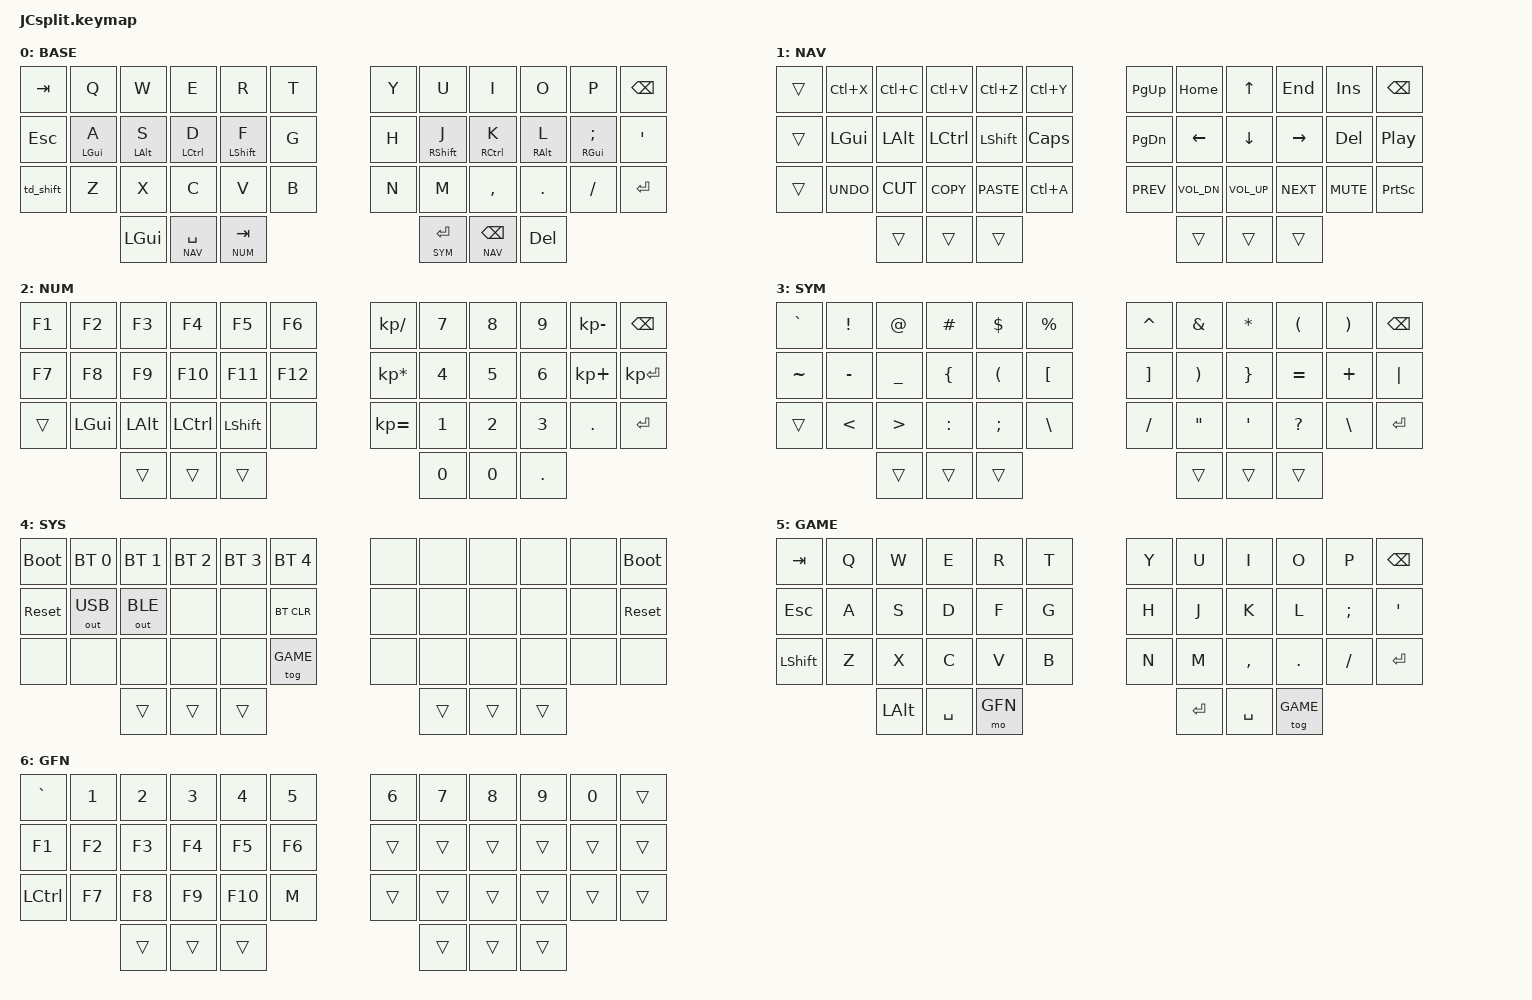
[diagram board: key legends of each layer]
/*
 * JCsplit 42-key keymap  (3x6 + 3 thumbs per half)
 *
 * Physical key positions:
 *   0  1  2  3  4  5    |    6  7  8  9 10 11
 *  12 13 14 15 16 17    |   18 19 20 21 22 23
 *  24 25 26 27 28 29    |   30 31 32 33 34 35
 *            36 37 38   |   39 40 41
 *
 * Layers:
 *  0 BASE  - QWERTY + GACS home row mods ("timeless" tuning)
 *  1 NAV   - arrows, home/end, page, copy/paste, media on left
 *  2 NUM   - right-hand numpad, F-keys on top
 *  3 SYM   - programming symbols mirrored for comfort
 *  4 SYS   - Bluetooth profiles, USB/BLE toggle, reset/bootloader
 *  5 GAME  - plain QWERTY, NO home row mods, gaming thumbs
 *  6 GFN   - gaming number/function overlay
 */

#include <behaviors.dtsi>
#include <dt-bindings/zmk/keys.h>
#include <dt-bindings/zmk/bt.h>
#include <dt-bindings/zmk/outputs.h>

#define BASE 0
#define NAV  1
#define NUM  2
#define SYM  3
#define SYS  4
#define GAME 5
#define GFN  6

/* Hand groupings for hold-trigger-key-positions */
#define KEYS_L 0 1 2 3 4 5 12 13 14 15 16 17 24 25 26 27 28 29
#define KEYS_R 6 7 8 9 10 11 18 19 20 21 22 23 30 31 32 33 34 35
#define THUMBS 36 37 38 39 40 41

/ {
    behaviors {
        /* Left-hand home row mod: only holds if next key is on the RIGHT hand */
        hml: home_row_mod_left {
            compatible = "zmk,behavior-hold-tap";
            #binding-cells = <2>;
            flavor = "balanced";
            tapping-term-ms = <280>;
            quick-tap-ms = <175>;
            require-prior-idle-ms = <150>;
            bindings = <&kp>, <&kp>;
            hold-trigger-key-positions = <KEYS_R THUMBS>;
            hold-trigger-on-release;
        };

        /* Right-hand home row mod: only holds if next key is on the LEFT hand */
        hmr: home_row_mod_right {
            compatible = "zmk,behavior-hold-tap";
            #binding-cells = <2>;
            flavor = "balanced";
            tapping-term-ms = <280>;
            quick-tap-ms = <175>;
            require-prior-idle-ms = <150>;
            bindings = <&kp>, <&kp>;
            hold-trigger-key-positions = <KEYS_L THUMBS>;
            hold-trigger-on-release;
        };

        /* Thumb layer-taps: snappier than HRMs, repeatable space/enter */
        tlt: thumb_layer_tap {
            compatible = "zmk,behavior-hold-tap";
            #binding-cells = <2>;
            flavor = "balanced";
            tapping-term-ms = <200>;
            quick-tap-ms = <175>;
            bindings = <&mo>, <&kp>;
        };

        /* Shift / caps-word on one key: tap = sticky shift feel via plain shift,
           double-tap = caps word */
        td_shift: tap_dance_shift {
            compatible = "zmk,behavior-tap-dance";
            #binding-cells = <0>;
            tapping-term-ms = <200>;
            bindings = <&kp LSHFT>, <&caps_word>;
        };
    };

    combos {
        compatible = "zmk,combos";

        /* F + J together = Caps Word (great for CONSTANTS_IN_CODE) */
        combo_caps_word {
            timeout-ms = <40>;
            key-positions = <16 19>;
            bindings = <&caps_word>;
            layers = <BASE>;
        };

        /* D + F = underscore, K + L = minus: the two most-typed
           programming characters without leaving home row */
        combo_underscore {
            timeout-ms = <40>;
            key-positions = <15 16>;
            bindings = <&kp UNDER>;
            layers = <BASE>;
        };
        combo_minus {
            timeout-ms = <40>;
            key-positions = <20 21>;
            bindings = <&kp MINUS>;
            layers = <BASE>;
        };

        /* Both inner thumbs = SYS layer (BT / reset) so it can't fire by accident */
        combo_sys {
            timeout-ms = <50>;
            key-positions = <38 39>;
            bindings = <&mo SYS>;
        };
    };

    keymap {
        compatible = "zmk,keymap";

        base_layer {
            display-name = "BASE";
            bindings = <
&kp TAB    &kp Q         &kp W         &kp E          &kp R          &kp T          &kp Y      &kp U          &kp I          &kp O         &kp P         &kp BSPC
&kp ESC    &hml LGUI A   &hml LALT S   &hml LCTRL D   &hml LSHFT F   &kp G          &kp H      &hmr RSHFT J   &hmr RCTRL K   &hmr RALT L   &hmr RGUI SEMI &kp SQT
&td_shift  &kp Z         &kp X         &kp C          &kp V          &kp B          &kp N      &kp M          &kp COMMA      &kp DOT       &kp FSLH      &kp ENTER
                                       &kp LGUI       &tlt NAV SPACE &tlt NUM TAB   &tlt SYM ENTER  &tlt NAV BSPC  &kp DEL
            >;
        };

        nav_layer {
            display-name = "NAV";
            bindings = <
&trans     &kp LC(X)  &kp LC(C)  &kp LC(V)  &kp LC(Z)  &kp LC(Y)      &kp PG_UP   &kp HOME    &kp UP      &kp END     &kp INS     &kp BSPC
&trans     &kp LGUI   &kp LALT   &kp LCTRL  &kp LSHFT  &kp CAPS       &kp PG_DN   &kp LEFT    &kp DOWN    &kp RIGHT   &kp DEL     &kp C_PP
&trans     &kp K_UNDO &kp K_CUT  &kp K_COPY &kp K_PASTE &kp LC(A)     &kp C_PREV  &kp C_VOL_DN &kp C_VOL_UP &kp C_NEXT &kp C_MUTE  &kp PSCRN
                                 &trans     &trans      &trans        &trans      &trans       &trans
            >;
        };

        num_layer {
            display-name = "NUM";
            bindings = <
&kp F1     &kp F2     &kp F3     &kp F4     &kp F5     &kp F6         &kp KP_SLASH  &kp N7   &kp N8   &kp N9   &kp KP_MINUS  &kp BSPC
&kp F7     &kp F8     &kp F9     &kp F10    &kp F11    &kp F12        &kp KP_ASTERISK &kp N4 &kp N5   &kp N6   &kp KP_PLUS   &kp KP_ENTER
&trans     &kp LGUI   &kp LALT   &kp LCTRL  &kp LSHFT  &none          &kp KP_EQUAL  &kp N1   &kp N2   &kp N3   &kp DOT       &kp ENTER
                                 &trans     &trans     &trans         &kp N0        &kp N0   &kp DOT
            >;
        };

        sym_layer {
            display-name = "SYM";
            bindings = <
&kp GRAVE  &kp EXCL   &kp AT     &kp HASH   &kp DLLR   &kp PRCNT      &kp CARET   &kp AMPS    &kp ASTRK   &kp LPAR    &kp RPAR    &kp BSPC
&kp TILDE  &kp MINUS  &kp UNDER  &kp LBRC   &kp LPAR   &kp LBKT       &kp RBKT    &kp RPAR    &kp RBRC    &kp EQUAL   &kp PLUS    &kp PIPE
&trans     &kp LT     &kp GT     &kp COLON  &kp SEMI   &kp BSLH       &kp FSLH    &kp DQT     &kp SQT     &kp QMARK   &kp BSLH    &kp ENTER
                                 &trans     &trans     &trans         &trans      &trans      &trans
            >;
        };

        sys_layer {
            display-name = "SYS";
            bindings = <
&bootloader &bt BT_SEL 0 &bt BT_SEL 1 &bt BT_SEL 2 &bt BT_SEL 3 &bt BT_SEL 4    &none      &none      &none      &none      &none      &bootloader
&sys_reset  &out OUT_USB &out OUT_BLE &none        &none        &bt BT_CLR      &none      &none      &none      &none      &none      &sys_reset
&none       &none        &none        &none        &none        &tog GAME       &none      &none      &none      &none      &none      &none
                                      &trans       &trans       &trans          &trans     &trans     &trans
            >;
        };

        game_layer {
            display-name = "GAME";
            bindings = <
&kp TAB    &kp Q      &kp W      &kp E      &kp R      &kp T          &kp Y      &kp U      &kp I      &kp O      &kp P      &kp BSPC
&kp ESC    &kp A      &kp S      &kp D      &kp F      &kp G          &kp H      &kp J      &kp K      &kp L      &kp SEMI   &kp SQT
&kp LSHFT  &kp Z      &kp X      &kp C      &kp V      &kp B          &kp N      &kp M      &kp COMMA  &kp DOT    &kp FSLH   &kp ENTER
                                 &kp LALT   &kp SPACE  &mo GFN        &kp ENTER  &kp SPACE  &tog GAME
            >;
        };

        gfn_layer {
            display-name = "GFN";
            bindings = <
&kp GRAVE  &kp N1     &kp N2     &kp N3     &kp N4     &kp N5         &kp N6     &kp N7     &kp N8     &kp N9     &kp N0     &trans
&kp F1     &kp F2     &kp F3     &kp F4     &kp F5     &kp F6         &trans     &trans     &trans     &trans     &trans     &trans
&kp LCTRL  &kp F7     &kp F8     &kp F9     &kp F10    &kp M          &trans     &trans     &trans     &trans     &trans     &trans
                                 &trans     &trans     &trans         &trans     &trans     &trans
            >;
        };
    };
};
